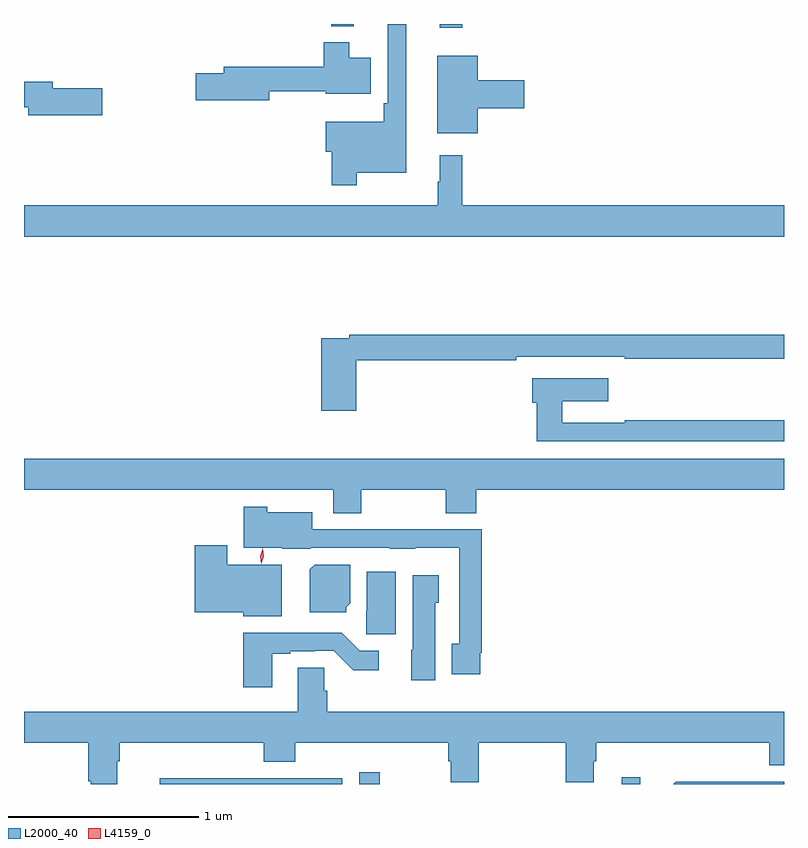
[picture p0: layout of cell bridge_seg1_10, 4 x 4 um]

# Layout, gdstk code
import gdstk
lib = gdstk.Library(unit=1e-6, precision=1e-09)
def R(c, l, rs):  # rectangles x0, y0, x1, y1
    for r in rs: c.add(gdstk.rectangle(r[:2], r[2:], *l))
def P(c, l, *ps):  # polygons
    for p in ps: c.add(gdstk.Polygon(p, *l))
L2000_40 = (2000, 40)
L4159_0 = (4159, 0)

bridge_seg1_10 = lib.new_cell('bridge_seg1_10')
R(bridge_seg1_10, L2000_40, [(852.399,527.539,852.508,527.602), (853.781,527.539,853.878,527.575), (852.824,531.519,852.941,531.539), (852.253,531.527,852.371,531.539)])
P(bridge_seg1_10, L2000_40, [(852.385,530.756),(852.646,530.756),(852.646,531.539),(852.549,531.539),(852.549,531.121),(852.529,531.121),(852.529,531.025),(852.222,531.025),(852.222,530.867),(852.256,530.867),(852.256,530.691),(852.385,530.691)],
  [(851.926,531.184),(852.224,531.184),(852.224,531.173),(852.46,531.173),(852.46,531.361),(852.346,531.361),(852.346,531.442),(852.212,531.442),(852.212,531.313),(851.687,531.313),(851.687,531.279),(851.538,531.279),(851.538,531.137),(851.926,531.137)],
  [(853.024,531.095),(853.267,531.095),(853.267,531.242),(853.024,531.242),(853.024,531.373),(852.809,531.373),(852.809,530.963),(853.024,530.963)],
  [(851.047,531.2),(850.786,531.2),(850.786,531.236),(850.635,531.236),(850.635,531.1),(850.658,531.1),(850.658,531.058),(851.047,531.058)],
  [(854.635,530.584),(852.941,530.584),(852.941,530.848),(852.824,530.848),(852.824,530.708),(852.813,530.708),(852.813,530.584),(850.635,530.584),(850.635,530.42),(854.635,530.42)],
  [(852.383,529.768),(853.226,529.768),(853.226,529.788),(853.798,529.788),(853.798,529.776),(854.635,529.776),(854.635,529.904),(852.346,529.904),(852.346,529.884),(852.2,529.884),(852.2,529.503),(852.383,529.503)],
  [(854.635,529.453),(853.798,529.453),(853.798,529.44),(853.469,529.44),(853.469,529.553),(853.711,529.553),(853.711,529.675),(853.31,529.675),(853.31,529.546),(853.333,529.546),(853.333,529.344),(854.635,529.344)],
  [(852.411,529.088),(852.856,529.088),(852.856,528.964),(853.016,528.964),(853.016,529.088),(854.635,529.088),(854.635,529.252),(850.635,529.252),(850.635,529.088),(852.263,529.088),(852.263,528.964),(852.411,528.964)],
  [(853.036,528.229),(853.043,528.229),(853.043,528.879),(852.793,528.879),(852.793,528.881),(852.561,528.881),(852.561,528.879),(852.151,528.879),(852.151,528.97),(851.916,528.97),(851.916,528.997),(851.792,528.997),(851.792,528.782),(851.994,528.782),(851.994,528.776),(852.144,528.776),(852.144,528.783),(852.561,528.783),(852.561,528.776),(852.693,528.776),(852.693,528.782),(852.927,528.782),(852.927,528.278),(852.887,528.278),(852.887,528.117),(853.036,528.117)],
  [(851.992,528.692),(851.826,528.692),(851.826,528.694),(851.704,528.694),(851.704,528.796),(851.534,528.796),(851.534,528.443),(851.79,528.443),(851.79,528.422),(851.992,528.422)],
  [(852.33,528.468),(852.352,528.49),(852.352,528.694),(852.166,528.694),(852.14,528.668),(852.14,528.443),(852.33,528.443)],
  [(852.592,528.655),(852.44,528.655),(852.44,528.45),(852.436,528.45),(852.436,528.327),(852.592,528.327)],
  [(852.799,528.492),(852.817,528.492),(852.817,528.637),(852.68,528.637),(852.68,528.246),(852.674,528.246),(852.674,528.084),(852.799,528.084)],
  [(851.941,528.225),(852.037,528.225),(852.037,528.237),(852.164,528.237),(852.164,528.24),(852.264,528.24),(852.367,528.138),(852.502,528.138),(852.502,528.24),(852.402,528.24),(852.308,528.334),(851.789,528.334),(851.789,528.048),(851.941,528.048)],
  [(851.125,527.66),(851.138,527.66),(851.138,527.756),(851.897,527.756),(851.897,527.657),(852.062,527.657),(852.062,527.756),(852.869,527.756),(852.869,527.658),(852.881,527.658),(852.881,527.548),(853.029,527.548),(853.029,527.756),(853.486,527.756),(853.486,527.548),(853.633,527.548),(853.633,527.658),(853.646,527.658),(853.646,527.756),(854.558,527.756),(854.558,527.639),(854.635,527.639),(854.635,527.92),(852.23,527.92),(852.23,528.03),(852.216,528.03),(852.216,528.152),(852.077,528.152),(852.077,527.92),(850.635,527.92),(850.635,527.756),(850.973,527.756),(850.973,527.554),(850.985,527.554),(850.985,527.539),(851.125,527.539)],
  [(852.309,527.568),(851.813,527.568),(851.813,527.57),(851.35,527.57),(851.35,527.539),(852.309,527.539)],
  [(854.635,527.55),(854.474,527.55),(854.474,527.552),(854.066,527.552),(854.053,527.539),(854.635,527.539)])
P(bridge_seg1_10, L4159_0, [(851.884,528.697),(851.884,528.697),(851.878,528.739),(851.891,528.778),(851.891,528.779),(851.892,528.778),(851.898,528.737),(851.884,528.697)])

lib.write_gds('bridge_seg1_10.gds')
